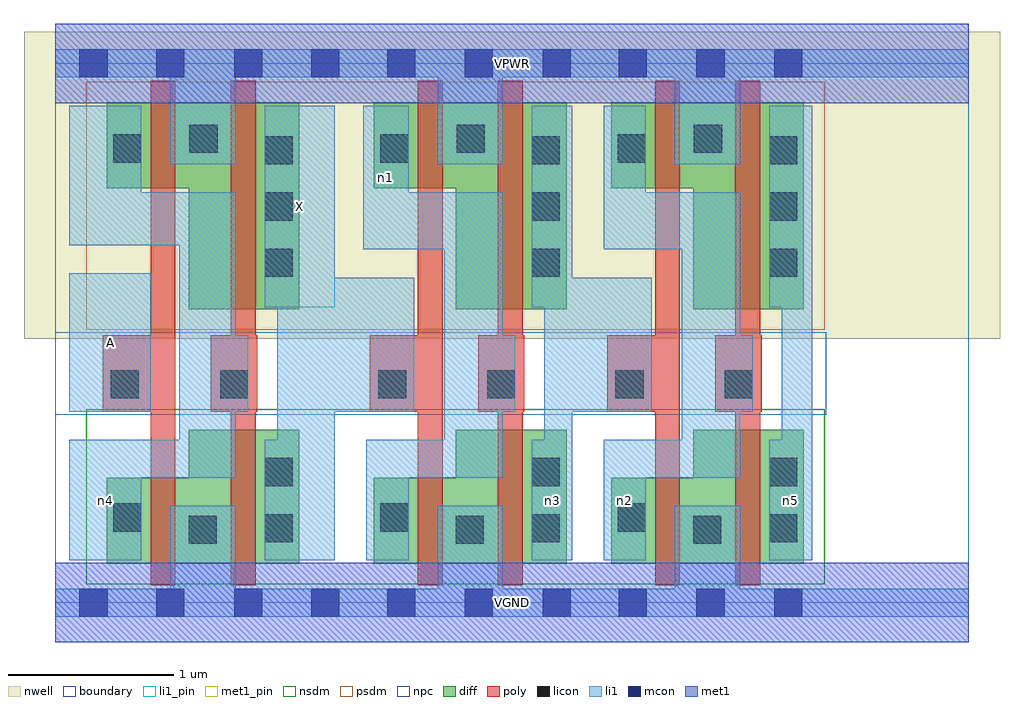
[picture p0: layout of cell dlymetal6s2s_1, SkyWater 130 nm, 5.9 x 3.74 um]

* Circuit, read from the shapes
.subckt dlymetal6s2s_1 A VGND VPWR X n1 n2 n3 n4 n5
XM1 VGND A n4 VSUBS sky130_fd_pr__nfet_01v8 w=0.52 l=0.15
XM2 X n4 VGND VSUBS sky130_fd_pr__nfet_01v8 w=0.81 l=0.15
XM3 VGND X n1 VSUBS sky130_fd_pr__nfet_01v8 w=0.52 l=0.15
XM4 n3 n1 VGND VSUBS sky130_fd_pr__nfet_01v8 w=0.81 l=0.15
XM5 VGND n3 n2 VSUBS sky130_fd_pr__nfet_01v8 w=0.52 l=0.15
XM6 n5 n2 VGND VSUBS sky130_fd_pr__nfet_01v8 w=0.81 l=0.15
XM7 VPWR A n4 n6 sky130_fd_pr__pfet_01v8 w=0.52 l=0.15
XM8 X n4 VPWR n6 sky130_fd_pr__pfet_01v8 w=1.25 l=0.15
XM9 VPWR X n1 n6 sky130_fd_pr__pfet_01v8 w=0.52 l=0.15
XM10 n3 n1 VPWR n6 sky130_fd_pr__pfet_01v8 w=1.25 l=0.15
XM11 VPWR n3 n2 n6 sky130_fd_pr__pfet_01v8 w=0.52 l=0.15
XM12 n5 n2 VPWR n6 sky130_fd_pr__pfet_01v8 w=1.25 l=0.15
.ends

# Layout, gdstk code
import gdstk
lib = gdstk.Library(unit=1e-6, precision=1e-09)
def R(c, l, rs):  # rectangles x0, y0, x1, y1
    for r in rs: c.add(gdstk.rectangle(r[:2], r[2:], *l))
def A(c, l, x, y, w, h, nx, ny, dx, dy):  # array of equal rectangles
    R(c, l, [(x+i*dx, y+j*dy, x+i*dx+w, y+j*dy+h) for i in range(nx) for j in range(ny)])
nwell = (64, 20)
diff = (65, 20)
poly = (66, 20)
licon = (66, 44)
li1_pin = (67, 16)
li1 = (67, 20)
mcon = (67, 44)
met1_pin = (68, 16)
met1 = (68, 20)
nsdm = (93, 44)
psdm = (94, 20)
npc = (95, 20)
boundary = (235, 4)

dlymetal6s2s_1 = lib.new_cell('dlymetal6s2s_1')
R(dlymetal6s2s_1, nwell, [(-0.19,1.595,5.71,3.45), (0,1.595,5.52,3.45)])
R(dlymetal6s2s_1, diff, [(0.31,0.235,1.475,0.755), (0.805,0.235,1.475,1.045), (1.925,0.235,3.09,0.755), (2.42,0.235,3.09,1.045), (3.36,0.235,4.525,0.755), (3.855,0.235,4.525,1.045), (0.805,1.775,1.475,3.025), (2.42,1.775,3.09,3.025), (3.855,1.775,4.525,3.025), (0.31,2.505,1.475,3.025), (1.925,2.505,3.09,3.025), (3.36,2.505,4.525,3.025)])
R(dlymetal6s2s_1, poly, [(0.575,0.105,0.725,3.155), (1.06,0.105,1.21,3.155), (2.19,0.105,2.34,3.155), (2.675,0.105,2.825,3.155), (3.625,0.105,3.775,3.155), (4.11,0.105,4.26,3.155), (0.285,1.155,0.725,1.615), (0.94,1.155,1.22,1.615), (1.9,1.155,2.34,1.615), (2.555,1.155,2.835,1.615), (3.335,1.155,3.775,1.615), (3.99,1.155,4.27,1.615)])
A(dlymetal6s2s_1, licon, 1.265, 1.97, 0.17, 0.17, 1, 3, 0, 0.34)
A(dlymetal6s2s_1, licon, 2.88, 1.97, 0.17, 0.17, 1, 3, 0, 0.34)
A(dlymetal6s2s_1, licon, 4.315, 1.97, 0.17, 0.17, 1, 3, 0, 0.34)
R(dlymetal6s2s_1, licon, [(0.805,0.355,0.975,0.525), (2.42,0.355,2.59,0.525), (3.855,0.355,4.025,0.525), (1.265,0.365,1.435,0.535), (2.88,0.365,3.05,0.535), (4.315,0.365,4.485,0.535), (0.35,0.43,0.52,0.6), (1.965,0.43,2.135,0.6), (3.4,0.43,3.57,0.6), (1.265,0.705,1.435,0.875), (2.88,0.705,3.05,0.875), (4.315,0.705,4.485,0.875), (0.335,1.235,0.505,1.405), (0.995,1.235,1.165,1.405), (1.95,1.235,2.12,1.405), (2.61,1.235,2.78,1.405), (3.385,1.235,3.555,1.405), (4.045,1.235,4.215,1.405), (0.35,2.66,0.52,2.83), (1.965,2.66,2.135,2.83), (3.4,2.66,3.57,2.83), (0.81,2.72,0.98,2.89), (2.425,2.72,2.595,2.89), (3.86,2.72,4.03,2.89)])
R(dlymetal6s2s_1, li1_pin, [(0.085,1.155,0.575,1.99), (1.265,1.785,1.69,3.005)])
R(dlymetal6s2s_1, li1, [(0,-0.085,5.52,0.085), (0.695,-0.085,1.09,0.585), (2.31,-0.085,2.705,0.585), (3.745,-0.085,4.14,0.585), (0.085,0.255,0.52,0.985), (1.265,0.255,1.69,0.985), (1.34,0.255,1.69,3.005), (1.88,0.255,2.135,0.985), (2.88,0.255,3.125,0.985), (2.955,0.255,3.125,3.005), (3.315,0.255,3.57,0.985), (4.315,0.255,4.575,0.985), (4.39,0.255,4.575,3.005), (0.085,0.755,1.09,0.985), (0.75,0.755,1.09,2.48), (1.88,0.755,2.705,0.985), (2.35,0.755,2.705,2.48), (3.315,0.755,4.14,0.985), (3.785,0.755,4.14,2.48), (0.085,1.155,0.575,1.99), (0.75,1.155,1.165,1.615), (1.34,1.155,2.17,1.965), (2.35,1.155,2.78,1.615), (2.955,1.155,3.605,1.965), (3.785,1.155,4.215,1.615), (1.265,1.785,1.69,3.005), (2.88,1.785,3.125,3.005), (4.315,1.785,4.575,3.005), (1.86,2.135,2.135,3.005), (1.86,2.135,2.705,2.48), (3.315,2.135,3.57,3.005), (3.315,2.135,4.14,2.48), (0.085,2.16,0.52,3.005), (0.085,2.16,1.09,2.48), (0.695,2.65,1.09,3.345), (2.31,2.65,2.705,3.345), (3.745,2.65,4.14,3.345), (0,3.175,5.52,3.345)])
A(dlymetal6s2s_1, mcon, 2.005, -0.085, 0.17, 0.17, 3, 2, 0.47, 3.26)
A(dlymetal6s2s_1, mcon, 3.405, -0.085, 0.17, 0.17, 3, 2, 0.47, 3.26)
R(dlymetal6s2s_1, mcon, [(0.145,-0.085,0.315,0.085), (0.61,-0.085,0.78,0.085), (1.08,-0.085,1.25,0.085), (1.545,-0.085,1.715,0.085), (0.145,3.175,0.315,3.345), (0.61,3.175,0.78,3.345), (1.08,3.175,1.25,3.345), (1.545,3.175,1.715,3.345)])
R(dlymetal6s2s_1, met1_pin, [(0,-0.24,5.52,0.24), (0,3.02,5.52,3.5)])
R(dlymetal6s2s_1, met1, [(0,-0.24,5.52,0.24), (0,3.02,5.52,3.5)])
R(dlymetal6s2s_1, nsdm, [(0.185,0.11,4.65,1.17)])
R(dlymetal6s2s_1, psdm, [(0.185,1.65,4.65,3.15)])
R(dlymetal6s2s_1, npc, [(0,1.135,4.66,1.635)])
R(dlymetal6s2s_1, boundary, [(0,0,5.52,3.26)])
dlymetal6s2s_1.add(gdstk.Label('A', (0.33,1.572), layer=67, texttype=5))
dlymetal6s2s_1.add(gdstk.Label('X', (1.477,2.395), layer=67, texttype=5))
dlymetal6s2s_1.add(gdstk.Label('n4', (0.302,0.62), layer=67, texttype=5))
dlymetal6s2s_1.add(gdstk.Label('n1', (1.997,2.57), layer=67, texttype=5))
dlymetal6s2s_1.add(gdstk.Label('n3', (3.002,0.62), layer=67, texttype=5))
dlymetal6s2s_1.add(gdstk.Label('n2', (3.442,0.62), layer=67, texttype=5))
dlymetal6s2s_1.add(gdstk.Label('n5', (4.445,0.62), layer=67, texttype=5))
dlymetal6s2s_1.add(gdstk.Label('VPWR', (2.76,3.26), layer=68, texttype=5))
dlymetal6s2s_1.add(gdstk.Label('VGND', (2.76,0), layer=68, texttype=5))
dlymetal6s2s_1.add(gdstk.Label('A', (0.33,1.572), layer=67, texttype=16))
dlymetal6s2s_1.add(gdstk.Label('X', (1.477,2.395), layer=67, texttype=16))
dlymetal6s2s_1.add(gdstk.Label('VPWR', (2.76,3.26), layer=68, texttype=16))
dlymetal6s2s_1.add(gdstk.Label('VGND', (2.76,0), layer=68, texttype=16))

lib.write_gds('dlymetal6s2s_1.gds')
